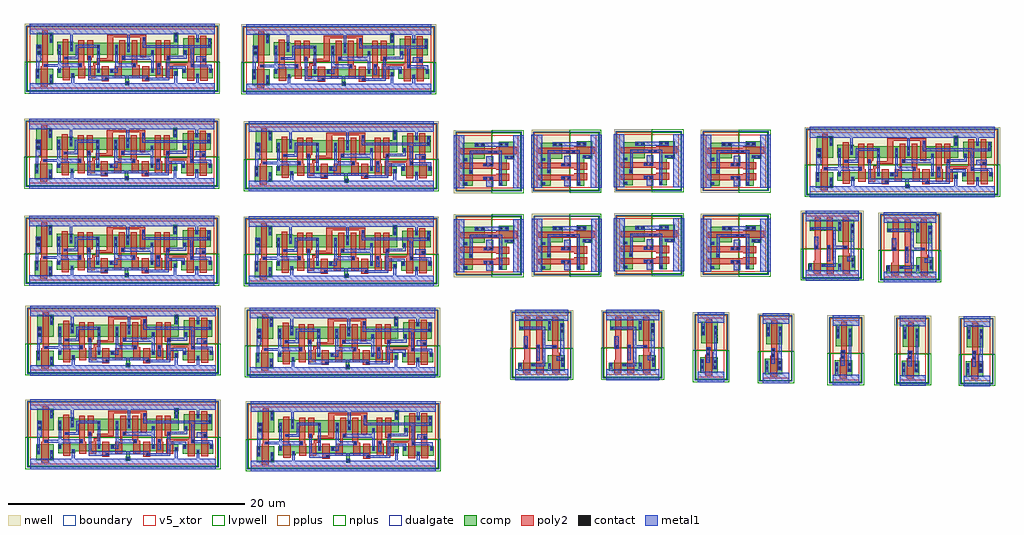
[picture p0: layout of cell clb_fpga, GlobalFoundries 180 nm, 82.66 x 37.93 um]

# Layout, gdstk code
from math import pi, radians
import gdstk
lib = gdstk.Library(unit=1e-6, precision=1e-09)
def R(c, l, rs):  # rectangles x0, y0, x1, y1
    for r in rs: c.add(gdstk.rectangle(r[:2], r[2:], *l))
def P(c, l, *ps):  # polygons
    for p in ps: c.add(gdstk.Polygon(p, *l))
boundary = (0, 0)
nwell = (21, 0)
comp = (22, 0)
poly2 = (30, 0)
pplus = (31, 0)
nplus = (32, 0)
contact = (33, 0)
metal1 = (34, 0)
dualgate = (55, 0)
v5_xtor = (112, 1)
lvpwell = (204, 0)

gf180mcu_fd_sc_mcu9t5v0_ = lib.new_cell('gf180mcu_fd_sc_mcu9t5v0__dffq_1')
R(gf180mcu_fd_sc_mcu9t5v0_, boundary, [(0,0,15.68,5.04)])
R(gf180mcu_fd_sc_mcu9t5v0_, nwell, [(-0.43,2.265,16.11,5.47)])
R(gf180mcu_fd_sc_mcu9t5v0_, comp, [(13.7,0.345,15.18,1.665), (0.18,0.875,2.78,1.665), (0.28,2.865,2.68,4.245), (13.7,2.865,15.08,4.695)])
P(gf180mcu_fd_sc_mcu9t5v0_, comp, [(7.23,0.275),(7.23,0.635),(7.28,0.635),(7.28,1.085),(3.14,1.085),(3.14,1.665),(13.34,1.665),(13.34,0.915),(11.86,0.915),(11.86,1.085),(7.58,1.085),(7.58,0.605),(7.59,0.605),(7.59,0.275)],
  [(3.12,2.865),(3.12,4.725),(3.48,4.725),(3.48,3.865),(11.96,3.865),(11.96,3.965),(13.34,3.965),(13.34,2.865)])
R(gf180mcu_fd_sc_mcu9t5v0_, poly2, [(5.54,0.625,6.14,1.885), (9,0.625,9.6,1.885), (3.78,2.405,4.28,4.085)])
P(gf180mcu_fd_sc_mcu9t5v0_, poly2, [(0.62,0.655),(0.62,1.885),(0.72,1.885),(0.72,4.465),(1.22,4.465),(1.22,0.655)],
  [(1.74,0.655),(1.74,4.465),(2.24,4.465),(2.24,2.165),(4.18,2.165),(4.18,0.865),(3.58,0.865),(3.58,1.965),(2.34,1.965),(2.34,0.655)],
  [(4.42,0.865),(4.42,1.885),(4.52,1.885),(4.52,4.085),(5.02,4.085),(5.02,0.865)],
  [(6.38,0.865),(6.38,1.965),(6.56,1.965),(6.56,4.085),(7.06,4.085),(7.06,1.965),(6.98,1.965),(6.98,0.865)],
  [(7.88,0.865),(7.88,2.405),(7.58,2.405),(7.58,4.085),(8.08,4.085),(8.08,1.885),(8.48,1.885),(8.48,0.865)],
  [(10.12,0.865),(10.12,1.995),(9.815,1.995),(9.815,2.365),(8.6,2.365),(8.6,4.325),(6.32,4.325),(6.32,2.645),(5.82,2.645),(5.82,4.525),(9.1,4.525),(9.1,2.565),(10.015,2.565),(10.015,2.195),(10.32,2.195),(10.32,1.885),(10.72,1.885),(10.72,0.865)],
  [(10.44,2.405),(10.44,2.645),(10.3,2.645),(10.3,4.085),(10.8,4.085),(10.8,2.405)],
  [(10.96,0.865),(10.96,1.885),(11.06,1.885),(11.06,4.085),(11.56,4.085),(11.56,0.865)],
  [(12.3,0.695),(12.3,1.885),(12.4,1.885),(12.4,4.185),(12.9,4.185),(12.9,0.695)],
  [(14.14,0.125),(14.14,4.915),(14.64,4.915),(14.64,1.885),(14.74,1.885),(14.74,0.125)])
R(gf180mcu_fd_sc_mcu9t5v0_, pplus, [(-0.2,2.265,15.88,5.24)])
R(gf180mcu_fd_sc_mcu9t5v0_, nplus, [(-0.2,-0.2,15.88,2.265)])
R(gf180mcu_fd_sc_mcu9t5v0_, contact, [(7.3,0.345,7.52,0.565), (13.77,0.415,13.99,0.635), (5.61,0.695,5.83,0.915), (9.07,0.695,9.29,0.915), (13.77,0.885,13.99,1.105), (14.89,0.905,15.11,1.125), (1.37,0.945,1.59,1.165), (11.93,0.985,12.15,1.205), (3.21,1.155,3.43,1.375), (0.25,1.375,0.47,1.595), (2.49,1.375,2.71,1.595), (5.17,1.375,5.39,1.595), (8.63,1.375,8.85,1.595), (9.75,1.375,9.97,1.595), (13.05,1.375,13.27,1.595), (14.89,1.375,15.11,1.595), (1.81,1.835,2.03,2.055), (4.635,1.835,4.855,2.055), (6.69,1.835,6.91,2.055), (11.27,1.835,11.49,2.055), (14.21,1.835,14.43,2.055), (0.79,2.295,1.01,2.515), (3.85,2.475,4.07,2.695), (7.65,2.475,7.87,2.695), (10.51,2.475,10.73,2.695), (12.47,2.475,12.69,2.695), (2.39,2.935,2.61,3.155), (5.17,2.935,5.39,3.155), (8.23,2.935,8.45,3.155), (9.75,2.935,9.97,3.155), (13.05,2.935,13.27,3.155), (14.79,2.935,15.01,3.155), (7.21,3.105,7.43,3.325), (12.03,3.205,12.25,3.425), (8.23,3.405,8.45,3.625), (9.75,3.405,9.97,3.625), (13.05,3.405,13.27,3.625), (14.79,3.405,15.01,3.625), (0.35,3.485,0.57,3.705), (7.21,3.575,7.43,3.795), (12.03,3.675,12.25,3.895), (13.77,3.935,13.99,4.155), (0.35,3.955,0.57,4.175), (1.37,3.955,1.59,4.175), (3.19,3.965,3.41,4.185), (5.89,4.035,6.11,4.255), (13.77,4.405,13.99,4.625), (3.19,4.435,3.41,4.655)])
R(gf180mcu_fd_sc_mcu9t5v0_, metal1, [(4.63,1.21,4.89,2.115), (0.71,2.235,1.575,2.71)])
P(gf180mcu_fd_sc_mcu9t5v0_, metal1, [(0.245,1.315),(0.245,2.005),(1.805,2.005),(1.805,3.425),(0.345,3.425),(0.345,4.235),(0.575,4.235),(0.575,3.655),(1.94,3.655),(1.94,3.675),(5.885,3.675),(5.885,4.315),(6.115,4.315),(6.115,3.445),(2.035,3.445),(2.035,1.775),(0.475,1.775),(0.475,1.315)],
  [(5.165,1.315),(5.165,3.215),(5.395,3.215),(5.395,2.755),(7.875,2.755),(7.875,2.415),(5.395,2.415),(5.395,1.315)],
  [(8.225,1.315),(8.225,1.775),(6.685,1.775),(6.685,2.115),(8.225,2.115),(8.225,3.685),(8.455,3.685),(8.455,1.655),(8.855,1.655),(8.855,1.315)],
  [(3.845,0.69),(3.845,1.665),(2.715,1.665),(2.715,1.315),(2.485,1.315),(2.485,1.895),(3.845,1.895),(3.845,2.525),(2.385,2.525),(2.385,3.215),(2.615,3.215),(2.615,2.755),(4.075,2.755),(4.075,0.92),(5.665,0.92),(5.665,1.085),(10.505,1.085),(10.505,2.755),(10.735,2.755),(10.735,0.69),(9.01,0.69),(9.01,0.855),(5.89,0.855),(5.89,0.69)],
  [(9.745,1.315),(9.745,3.685),(11.795,3.685),(11.795,2.7),(12.75,2.7),(12.75,2.47),(11.565,2.47),(11.565,3.455),(9.975,3.455),(9.975,1.315)],
  [(13.045,1.315),(13.045,1.775),(11.265,1.775),(11.265,2.115),(13.045,2.115),(13.045,3.685),(13.275,3.685),(13.275,2.06),(14.49,2.06),(14.49,1.83),(13.275,1.83),(13.275,1.315)],
  [(14.885,0.845),(14.885,2.33),(14.71,2.33),(14.71,3.685),(15.115,3.685),(15.115,0.845)],
  [(0,-0.45),(0,0.45),(1.365,0.45),(1.365,1.225),(1.595,1.225),(1.595,0.45),(3.205,0.45),(3.205,1.435),(3.435,1.435),(3.435,0.45),(7.295,0.45),(7.295,0.625),(7.525,0.625),(7.525,0.45),(11.925,0.45),(11.925,1.265),(12.155,1.265),(12.155,0.45),(13.765,0.45),(13.765,1.165),(13.995,1.165),(13.995,0.45),(15.68,0.45),(15.68,-0.45)],
  [(7.205,3.045),(7.205,4.59),(3.415,4.59),(3.415,3.905),(3.185,3.905),(3.185,4.59),(1.595,4.59),(1.595,3.895),(1.365,3.895),(1.365,4.59),(0,4.59),(0,5.49),(15.68,5.49),(15.68,4.59),(13.995,4.59),(13.995,3.875),(13.765,3.875),(13.765,4.59),(12.255,4.59),(12.255,3.145),(12.025,3.145),(12.025,4.59),(7.435,4.59),(7.435,3.045)])
R(gf180mcu_fd_sc_mcu9t5v0_, dualgate, [(-0.28,-0.28,15.96,5.32)])
R(gf180mcu_fd_sc_mcu9t5v0_, v5_xtor, [(0,0,15.68,5.04)])
R(gf180mcu_fd_sc_mcu9t5v0_, lvpwell, [(-0.43,-0.43,16.11,2.265)])
gf180mcu_fd_sc_mcu9t5v0_.add(gdstk.Label('CLK', (1.4,2.52), layer=34, texttype=10))
gf180mcu_fd_sc_mcu9t5v0_.add(gdstk.Label('D', (4.76,1.4), layer=34, texttype=10))
gf180mcu_fd_sc_mcu9t5v0_.add(gdstk.Label('Q', (14.84,2.52), layer=34, texttype=10))
gf180mcu_fd_sc_mcu9t5v0_.add(gdstk.Label('VDD', (1.48,4.59), layer=34, texttype=10))
gf180mcu_fd_sc_mcu9t5v0_.add(gdstk.Label('VSS', (13.88,0.45), layer=34, texttype=10))
gf180mcu_fd_sc_mcu9t5v0_.add(gdstk.Label('& Vendor GLOBALFOUNDRIES', (0,2), layer=63, texttype=63))
gf180mcu_fd_sc_mcu9t5v0_.add(gdstk.Label('& Product GF018hv5v_green_sc9', (0,1.5), layer=63, texttype=63))
gf180mcu_fd_sc_mcu9t5v0_.add(gdstk.Label('& Version 2015q2v2', (0,1), layer=63, texttype=63))
gf180mcu_fd_sc_mcu9t5v0_.add(gdstk.Label('& Metric 1.00', (0,0.5), layer=63, texttype=63))
gf180mcu_fd_sc_mcu9t5v0_.add(gdstk.Label('VNW', (0.345,3.92), layer=21, texttype=10))
gf180mcu_fd_sc_mcu9t5v0_.add(gdstk.Label('VPW', (0.34,-0.085), layer=204, texttype=10))

c_gf180mcu_fd_sc_mcu9t5v0_ = lib.new_cell('gf180mcu_fd_sc_mcu9t5v0__inv_1')
R(c_gf180mcu_fd_sc_mcu9t5v0_, boundary, [(0,0,2.24,5.04)])
R(c_gf180mcu_fd_sc_mcu9t5v0_, nwell, [(-0.43,2.265,2.67,5.47)])
R(c_gf180mcu_fd_sc_mcu9t5v0_, comp, [(0.18,0.345,1.66,1.665), (0.28,2.865,1.66,4.695)])
P(c_gf180mcu_fd_sc_mcu9t5v0_, poly2, [(0.62,0.125),(0.62,1.885),(0.72,1.885),(0.72,4.915),(1.22,4.915),(1.22,0.125)])
R(c_gf180mcu_fd_sc_mcu9t5v0_, pplus, [(-0.2,2.265,2.44,5.24)])
R(c_gf180mcu_fd_sc_mcu9t5v0_, nplus, [(-0.2,-0.2,2.44,2.265)])
R(c_gf180mcu_fd_sc_mcu9t5v0_, contact, [(0.25,0.74,0.47,0.96), (1.37,0.74,1.59,0.96), (0.25,1.21,0.47,1.43), (1.37,1.21,1.59,1.43), (0.79,1.835,1.01,2.055), (0.79,2.305,1.01,2.525), (0.35,3.61,0.57,3.83), (1.37,3.61,1.59,3.83), (0.35,4.08,0.57,4.3), (1.37,4.08,1.59,4.3)])
P(c_gf180mcu_fd_sc_mcu9t5v0_, metal1, [(0.71,1.21),(0.71,2.53),(1.07,2.53),(1.07,2.3),(1.015,2.3),(1.015,1.21)],
  [(1.27,0.68),(1.27,2.15),(1.365,2.15),(1.365,4.36),(1.595,4.36),(1.595,0.68)],
  [(0,-0.45),(0,0.45),(0.245,0.45),(0.245,1.49),(0.475,1.49),(0.475,0.45),(2.24,0.45),(2.24,-0.45)],
  [(0.345,3.55),(0.345,4.59),(0,4.59),(0,5.49),(2.24,5.49),(2.24,4.59),(0.575,4.59),(0.575,3.55)])
R(c_gf180mcu_fd_sc_mcu9t5v0_, dualgate, [(-0.28,-0.28,2.52,5.32)])
R(c_gf180mcu_fd_sc_mcu9t5v0_, v5_xtor, [(0,0,2.24,5.04)])
R(c_gf180mcu_fd_sc_mcu9t5v0_, lvpwell, [(-0.43,-0.43,2.67,2.265)])
c_gf180mcu_fd_sc_mcu9t5v0_.add(gdstk.Label('I', (0.84,1.96), layer=34, texttype=10))
c_gf180mcu_fd_sc_mcu9t5v0_.add(gdstk.Label('VDD', (1.12,5.49), layer=34, texttype=10))
c_gf180mcu_fd_sc_mcu9t5v0_.add(gdstk.Label('VSS', (1.12,-0.45), layer=34, texttype=10))
c_gf180mcu_fd_sc_mcu9t5v0_.add(gdstk.Label('ZN', (1.4,1.96), layer=34, texttype=10))
c_gf180mcu_fd_sc_mcu9t5v0_.add(gdstk.Label('& Vendor GLOBALFOUNDRIES', (0,2), layer=63, texttype=63))
c_gf180mcu_fd_sc_mcu9t5v0_.add(gdstk.Label('& Product GF018hv5v_green_sc9', (0,1.5), layer=63, texttype=63))
c_gf180mcu_fd_sc_mcu9t5v0_.add(gdstk.Label('& Version 2015q2v2', (0,1), layer=63, texttype=63))
c_gf180mcu_fd_sc_mcu9t5v0_.add(gdstk.Label('& Metric 1.00', (0,0.5), layer=63, texttype=63))
c_gf180mcu_fd_sc_mcu9t5v0_.add(gdstk.Label('VNW', (0.345,3.92), layer=21, texttype=10))
c_gf180mcu_fd_sc_mcu9t5v0_.add(gdstk.Label('VPW', (0.34,-0.085), layer=204, texttype=10))

c_gf180mcu_fd_sc_mcu9t5v0__ = lib.new_cell('gf180mcu_fd_sc_mcu9t5v0__or2_1')
R(c_gf180mcu_fd_sc_mcu9t5v0__, boundary, [(0,0,4.48,5.04)])
R(c_gf180mcu_fd_sc_mcu9t5v0__, nwell, [(-0.43,2.265,4.91,5.47)])
P(c_gf180mcu_fd_sc_mcu9t5v0__, comp, [(2.755,2.865),(2.755,3.78),(0.335,3.78),(0.335,4.695),(4.095,4.695),(4.095,2.865)],
  [(0.235,0.345),(0.235,1.005),(2.755,1.005),(2.755,1.665),(4.195,1.665),(4.195,0.345)])
P(c_gf180mcu_fd_sc_mcu9t5v0__, poly2, [(0.675,0.125),(0.675,1.225),(0.775,1.225),(0.775,4.915),(1.275,4.915),(1.275,0.125)],
  [(1.795,0.125),(1.795,4.915),(2.295,4.915),(2.295,1.225),(2.395,1.225),(2.395,0.125)],
  [(3.155,0.125),(3.155,4.915),(3.655,4.915),(3.655,1.885),(3.755,1.885),(3.755,0.125)])
R(c_gf180mcu_fd_sc_mcu9t5v0__, pplus, [(-0.2,2.265,4.68,5.24)])
R(c_gf180mcu_fd_sc_mcu9t5v0__, nplus, [(-0.2,-0.2,4.68,2.265)])
R(c_gf180mcu_fd_sc_mcu9t5v0__, contact, [(0.305,0.715,0.525,0.935), (1.425,0.715,1.645,0.935), (2.785,0.715,3.005,0.935), (3.905,0.74,4.125,0.96), (3.905,1.21,4.125,1.43), (0.845,2.275,1.065,2.495), (1.865,2.275,2.085,2.495), (3.225,2.275,3.445,2.495), (3.805,3.61,4.025,3.83), (0.405,3.85,0.625,4.07), (2.785,3.85,3.005,4.07), (3.805,4.08,4.025,4.3), (2.785,4.32,3.005,4.54)])
R(c_gf180mcu_fd_sc_mcu9t5v0__, metal1, [(1.83,1.21,2.09,2.555), (0.71,2.215,1.07,3.27)])
P(c_gf180mcu_fd_sc_mcu9t5v0__, metal1, [(1.365,0.71),(1.365,0.94),(2.32,0.94),(2.32,3.845),(0.345,3.845),(0.345,4.075),(2.55,4.075),(2.55,2.5),(3.505,2.5),(3.505,2.27),(2.55,2.27),(2.55,0.71)],
  [(3.9,0.68),(3.9,1.21),(3.51,1.21),(3.51,1.59),(3.8,1.59),(3.8,4.36),(4.13,4.36),(4.13,0.68)],
  [(0,-0.45),(0,0.45),(0.3,0.45),(0.3,0.995),(0.53,0.995),(0.53,0.45),(2.78,0.45),(2.78,0.995),(3.01,0.995),(3.01,0.45),(4.48,0.45),(4.48,-0.45)],
  [(2.78,3.79),(2.78,4.59),(0,4.59),(0,5.49),(4.48,5.49),(4.48,4.59),(3.01,4.59),(3.01,3.79)])
R(c_gf180mcu_fd_sc_mcu9t5v0__, dualgate, [(-0.28,-0.28,4.76,5.32)])
R(c_gf180mcu_fd_sc_mcu9t5v0__, v5_xtor, [(0,0,4.48,5.04)])
R(c_gf180mcu_fd_sc_mcu9t5v0__, lvpwell, [(-0.43,-0.43,4.91,2.265)])
c_gf180mcu_fd_sc_mcu9t5v0__.add(gdstk.Label('A1', (0.84,2.52), layer=34, texttype=10))
c_gf180mcu_fd_sc_mcu9t5v0__.add(gdstk.Label('A2', (1.96,1.96), layer=34, texttype=10))
c_gf180mcu_fd_sc_mcu9t5v0__.add(gdstk.Label('VDD', (2.24,5.49), layer=34, texttype=10))
c_gf180mcu_fd_sc_mcu9t5v0__.add(gdstk.Label('VSS', (2.24,-0.45), layer=34, texttype=10))
c_gf180mcu_fd_sc_mcu9t5v0__.add(gdstk.Label('Z', (3.64,1.4), layer=34, texttype=10))
c_gf180mcu_fd_sc_mcu9t5v0__.add(gdstk.Label('& Vendor GLOBALFOUNDRIES', (0,2), layer=63, texttype=63))
c_gf180mcu_fd_sc_mcu9t5v0__.add(gdstk.Label('& Product GF018hv5v_green_sc9', (0,1.5), layer=63, texttype=63))
c_gf180mcu_fd_sc_mcu9t5v0__.add(gdstk.Label('& Version 2015q2v2', (0,1), layer=63, texttype=63))
c_gf180mcu_fd_sc_mcu9t5v0__.add(gdstk.Label('& Metric 1.00', (0,0.5), layer=63, texttype=63))
c_gf180mcu_fd_sc_mcu9t5v0__.add(gdstk.Label('VNW', (0.345,3.92), layer=21, texttype=10))
c_gf180mcu_fd_sc_mcu9t5v0__.add(gdstk.Label('VPW', (0.34,-0.085), layer=204, texttype=10))

c_gf180mcu_fd_sc_mcu9t5v0___ = lib.new_cell('gf180mcu_fd_sc_mcu9t5v0__and2_1')
R(c_gf180mcu_fd_sc_mcu9t5v0___, boundary, [(0,0,4.48,5.04)])
R(c_gf180mcu_fd_sc_mcu9t5v0___, nwell, [(-0.43,2.265,4.91,5.47)])
P(c_gf180mcu_fd_sc_mcu9t5v0___, comp, [(2.48,2.865),(2.48,3.875),(0.18,3.875),(0.18,4.695),(3.82,4.695),(3.82,2.865)],
  [(2.44,0.345),(2.44,1.005),(0.18,1.005),(0.18,1.665),(3.92,1.665),(3.92,0.345)])
P(c_gf180mcu_fd_sc_mcu9t5v0___, poly2, [(0.62,0.785),(0.62,4.915),(1.12,4.915),(1.12,1.885),(1.22,1.885),(1.22,0.785)],
  [(1.54,0.785),(1.54,1.885),(1.64,1.885),(1.64,4.915),(2.14,4.915),(2.14,0.785)],
  [(2.88,0.125),(2.88,4.915),(3.38,4.915),(3.38,1.885),(3.48,1.885),(3.48,0.125)])
R(c_gf180mcu_fd_sc_mcu9t5v0___, pplus, [(-0.2,2.265,4.68,5.24)])
R(c_gf180mcu_fd_sc_mcu9t5v0___, nplus, [(-0.2,-0.2,4.68,2.265)])
R(c_gf180mcu_fd_sc_mcu9t5v0___, contact, [(2.51,0.415,2.73,0.635), (2.51,0.885,2.73,1.105), (3.63,0.905,3.85,1.125), (0.25,1.375,0.47,1.595), (3.63,1.375,3.85,1.595), (2.95,1.835,3.17,2.055), (0.715,2.21,0.935,2.43), (1.835,2.21,2.055,2.43), (2.95,2.305,3.17,2.525), (0.715,2.68,0.935,2.9), (1.835,2.68,2.055,2.9), (3.53,2.935,3.75,3.155), (3.53,3.405,3.75,3.625), (1.27,3.945,1.49,4.165), (0.25,4.405,0.47,4.625), (2.29,4.405,2.51,4.625)])
R(c_gf180mcu_fd_sc_mcu9t5v0___, metal1, [(3.51,0.845,3.855,3.685)])
P(c_gf180mcu_fd_sc_mcu9t5v0___, metal1, [(0.115,2.15),(0.115,2.71),(0.71,2.71),(0.71,2.96),(0.97,2.96),(0.97,2.15)],
  [(1.83,2.15),(1.83,2.96),(2.06,2.96),(2.06,2.71),(2.715,2.71),(2.715,2.15)],
  [(0.19,1.37),(0.19,1.625),(2.945,1.625),(2.945,3.885),(1.21,3.885),(1.21,4.17),(1.55,4.17),(1.55,4.115),(3.175,4.115),(3.175,1.395),(0.53,1.395),(0.53,1.37)],
  [(0,-0.45),(0,0.45),(2.505,0.45),(2.505,1.165),(2.735,1.165),(2.735,0.45),(4.48,0.45),(4.48,-0.45)],
  [(0.245,4.345),(0.245,4.59),(0,4.59),(0,5.49),(4.48,5.49),(4.48,4.59),(2.515,4.59),(2.515,4.345),(2.285,4.345),(2.285,4.59),(0.475,4.59),(0.475,4.345)])
R(c_gf180mcu_fd_sc_mcu9t5v0___, dualgate, [(-0.28,-0.28,4.76,5.32)])
R(c_gf180mcu_fd_sc_mcu9t5v0___, v5_xtor, [(0,0,4.48,5.04)])
R(c_gf180mcu_fd_sc_mcu9t5v0___, lvpwell, [(-0.43,-0.43,4.91,2.265)])
c_gf180mcu_fd_sc_mcu9t5v0___.add(gdstk.Label('A1', (0.84,2.52), layer=34, texttype=10))
c_gf180mcu_fd_sc_mcu9t5v0___.add(gdstk.Label('A2', (1.96,2.52), layer=34, texttype=10))
c_gf180mcu_fd_sc_mcu9t5v0___.add(gdstk.Label('VDD', (0.36,4.59), layer=34, texttype=10))
c_gf180mcu_fd_sc_mcu9t5v0___.add(gdstk.Label('VSS', (2.62,0.45), layer=34, texttype=10))
c_gf180mcu_fd_sc_mcu9t5v0___.add(gdstk.Label('Z', (3.64,2.52), layer=34, texttype=10))
c_gf180mcu_fd_sc_mcu9t5v0___.add(gdstk.Label('& Vendor GLOBALFOUNDRIES', (0,2), layer=63, texttype=63))
c_gf180mcu_fd_sc_mcu9t5v0___.add(gdstk.Label('& Product GF018hv5v_green_sc9', (0,1.5), layer=63, texttype=63))
c_gf180mcu_fd_sc_mcu9t5v0___.add(gdstk.Label('& Version 2015q2v2', (0,1), layer=63, texttype=63))
c_gf180mcu_fd_sc_mcu9t5v0___.add(gdstk.Label('& Metric 1.00', (0,0.5), layer=63, texttype=63))
c_gf180mcu_fd_sc_mcu9t5v0___.add(gdstk.Label('VNW', (0.345,3.92), layer=21, texttype=10))
c_gf180mcu_fd_sc_mcu9t5v0___.add(gdstk.Label('VPW', (0.34,-0.085), layer=204, texttype=10))

clb_fpga = lib.new_cell('clb_fpga')
clb_fpga.add(gdstk.Reference(gf180mcu_fd_sc_mcu9t5v0_, (10.99,-38.08), rotation=pi, x_reflection=True))
clb_fpga.add(gdstk.Reference(gf180mcu_fd_sc_mcu9t5v0_, (29.32,-38.135), rotation=pi, x_reflection=True))
clb_fpga.add(gdstk.Reference(gf180mcu_fd_sc_mcu9t5v0_, (10.935,-46.13), rotation=pi, x_reflection=True))
clb_fpga.add(gdstk.Reference(gf180mcu_fd_sc_mcu9t5v0_, (29.54,-46.35), rotation=pi, x_reflection=True))
clb_fpga.add(gdstk.Reference(gf180mcu_fd_sc_mcu9t5v0_, (10.935,-54.345), rotation=pi, x_reflection=True))
clb_fpga.add(gdstk.Reference(gf180mcu_fd_sc_mcu9t5v0_, (29.54,-54.4), rotation=pi, x_reflection=True))
clb_fpga.add(gdstk.Reference(gf180mcu_fd_sc_mcu9t5v0_, (11.045,-61.96), rotation=pi, x_reflection=True))
clb_fpga.add(gdstk.Reference(gf180mcu_fd_sc_mcu9t5v0_, (29.645,-62.125), rotation=pi, x_reflection=True))
clb_fpga.add(gdstk.Reference(gf180mcu_fd_sc_mcu9t5v0_, (11.045,-69.9), rotation=pi, x_reflection=True))
clb_fpga.add(gdstk.Reference(gf180mcu_fd_sc_mcu9t5v0_, (29.7,-70.065), rotation=pi, x_reflection=True))
clb_fpga.add(gdstk.Reference(c_gf180mcu_fd_sc_mcu9t5v0_, (74.41,-62.845)))
clb_fpga.add(gdstk.Reference(c_gf180mcu_fd_sc_mcu9t5v0_, (68.975,-62.81)))
clb_fpga.add(gdstk.Reference(c_gf180mcu_fd_sc_mcu9t5v0_, (63.305,-62.775)))
clb_fpga.add(gdstk.Reference(c_gf180mcu_fd_sc_mcu9t5v0_, (57.39,-62.62)))
clb_fpga.add(gdstk.Reference(c_gf180mcu_fd_sc_mcu9t5v0_, (51.9,-62.525)))
clb_fpga.add(gdstk.Reference(c_gf180mcu_fd_sc_mcu9t5v0__, (67.62,-54.06)))
clb_fpga.add(gdstk.Reference(c_gf180mcu_fd_sc_mcu9t5v0__, (36.43,-62.335)))
clb_fpga.add(gdstk.Reference(c_gf180mcu_fd_sc_mcu9t5v0__, (44.125,-62.325)))
clb_fpga.add(gdstk.Reference(c_gf180mcu_fd_sc_mcu9t5v0__, (61.025,-53.91)))
r = gdstk.Reference(c_gf180mcu_fd_sc_mcu9t5v0___, (57.63,-53.595), rotation=pi/2); r.repetition = gdstk.Repetition(1, 1, v1=(0,0), v2=(0,0)); clb_fpga.add(r)
r = gdstk.Reference(c_gf180mcu_fd_sc_mcu9t5v0___, (43.3,-53.605), rotation=pi/2); r.repetition = gdstk.Repetition(1, 1, v1=(0,0), v2=(0,0)); clb_fpga.add(r)
r = gdstk.Reference(c_gf180mcu_fd_sc_mcu9t5v0___, (50.275,-53.565), rotation=pi/2); r.repetition = gdstk.Repetition(1, 1, v1=(0,0), v2=(0,0)); clb_fpga.add(r)
r = gdstk.Reference(c_gf180mcu_fd_sc_mcu9t5v0___, (36.705,-53.63), rotation=pi/2); r.repetition = gdstk.Repetition(1, 1, v1=(0,0), v2=(0,0)); clb_fpga.add(r)
r = gdstk.Reference(c_gf180mcu_fd_sc_mcu9t5v0___, (57.625,-46.485), rotation=pi/2); r.repetition = gdstk.Repetition(1, 1, v1=(0,0), v2=(0,0)); clb_fpga.add(r)
r = gdstk.Reference(c_gf180mcu_fd_sc_mcu9t5v0___, (43.295,-46.495), rotation=pi/2); r.repetition = gdstk.Repetition(1, 1, v1=(0,0), v2=(0,0)); clb_fpga.add(r)
r = gdstk.Reference(c_gf180mcu_fd_sc_mcu9t5v0___, (50.27,-46.455), rotation=pi/2); r.repetition = gdstk.Repetition(1, 1, v1=(0,0), v2=(0,0)); clb_fpga.add(r)
r = gdstk.Reference(c_gf180mcu_fd_sc_mcu9t5v0___, (36.7,-46.52), rotation=pi/2); r.repetition = gdstk.Repetition(1, 1, v1=(0,0), v2=(0,0)); clb_fpga.add(r)
clb_fpga.add(gdstk.Reference(gf180mcu_fd_sc_mcu9t5v0_, (77.055,-46.83), rotation=pi, x_reflection=True))

lib.write_gds('clb_fpga.gds')
